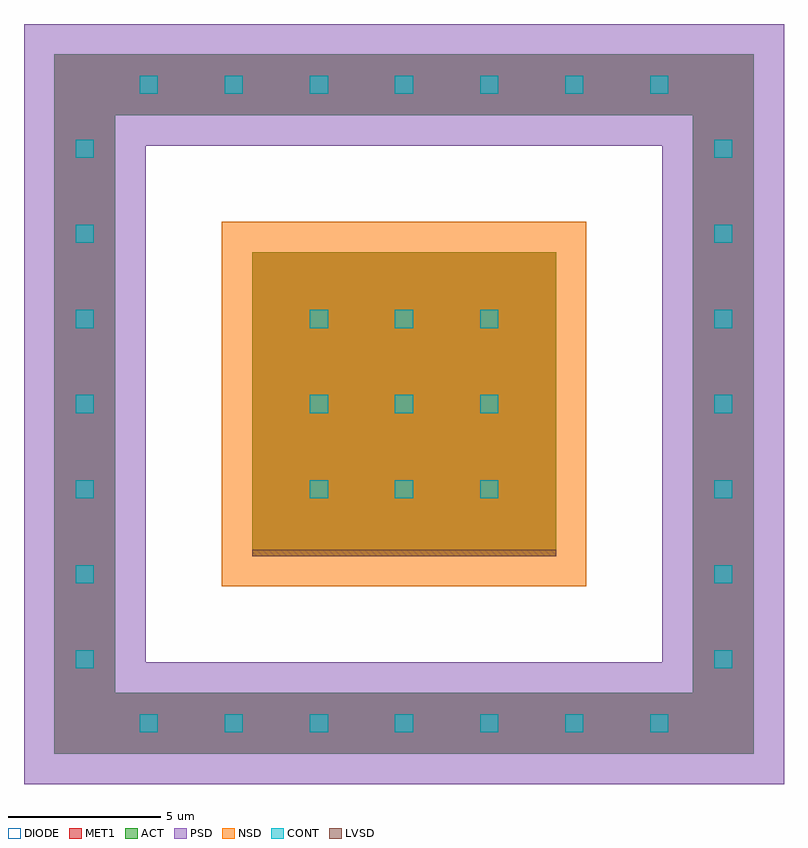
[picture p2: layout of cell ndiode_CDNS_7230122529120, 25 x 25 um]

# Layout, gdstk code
from math import pi, radians
import gdstk
lib = gdstk.Library(unit=1e-6, precision=1e-09)
def R(c, l, rs):  # rectangles x0, y0, x1, y1
    for r in rs: c.add(gdstk.rectangle(r[:2], r[2:], *l))
def A(c, l, x, y, w, h, nx, ny, dx, dy):  # array of equal rectangles
    R(c, l, [(x+i*dx, y+j*dy, x+i*dx+w, y+j*dy+h) for i in range(nx) for j in range(ny)])
ACT = (11, 0)
NSD = (14, 0)
PSD = (15, 0)
CONT = (31, 0)
MET1 = (32, 0)
DIODE = (57, 0)
LVSD = (60, 0)

ptap_cdns_7230122529122 = lib.new_cell('ptap_CDNS_7230122529122')
R(ptap_cdns_7230122529122, ACT, [(0.5,0.5,2.3,19.3)])
A(ptap_cdns_7230122529122, CONT, 1.1, 1.2, 0.6, 0.6, 1, 7, 0, 2.8)
R(ptap_cdns_7230122529122, MET1, [(0.4,0.4,2.4,19.4)])

ptap_ring_ndiode_cdns_72 = lib.new_cell('ptap_ring_ndiode_CDNS_7230122529121')
R(ptap_ring_ndiode_cdns_72, ACT, [(1,1,3,24), (1,1,24,3), (22,1,24,24), (1,22,24,24)])
R(ptap_ring_ndiode_cdns_72, PSD, [(0,0,4,25), (0,0,25,4), (21,0,25,25), (0,21,25,25)])
R(ptap_ring_ndiode_cdns_72, MET1, [(1,1,24,3), (1,1,3,24), (22,1,24,24), (1,22,24,24)])
ptap_ring_ndiode_cdns_72.add(gdstk.Reference(ptap_cdns_7230122529122, (0.6,2.6)))
ptap_ring_ndiode_cdns_72.add(gdstk.Reference(ptap_cdns_7230122529122, (2.6,0.6), rotation=pi/2, x_reflection=True))
ptap_ring_ndiode_cdns_72.add(gdstk.Reference(ptap_cdns_7230122529122, (2.6,21.6), rotation=pi/2, x_reflection=True))
ptap_ring_ndiode_cdns_72.add(gdstk.Reference(ptap_cdns_7230122529122, (21.6,2.6)))

ntap_cdns_7230122529123 = lib.new_cell('ntap_CDNS_7230122529123')
R(ntap_cdns_7230122529123, ACT, [(0.5,0.5,10.1,10.1)])
A(ntap_cdns_7230122529123, CONT, 2.2, 2.2, 0.6, 0.6, 3, 3, 2.8, 2.8)
R(ntap_cdns_7230122529123, MET1, [(0.4,0.4,10.2,10.2)])

ndiode_cdns_723012252912 = lib.new_cell('ndiode_CDNS_7230122529120')
R(ndiode_cdns_723012252912, ACT, [(7.5,7.5,17.5,17.5)])
R(ndiode_cdns_723012252912, NSD, [(6.5,6.5,18.5,18.5)])
R(ndiode_cdns_723012252912, MET1, [(7.5,7.5,17.5,17.5)])
R(ndiode_cdns_723012252912, DIODE, [(0,0,25,25)])
R(ndiode_cdns_723012252912, LVSD, [(7.5,7.5,17.5,7.7)])
ndiode_cdns_723012252912.add(gdstk.Reference(ptap_ring_ndiode_cdns_72, (0,0)))
ndiode_cdns_723012252912.add(gdstk.Reference(ntap_cdns_7230122529123, (7.2,7.2)))

lib.write_gds('ndiode_CDNS_7230122529120.gds')
